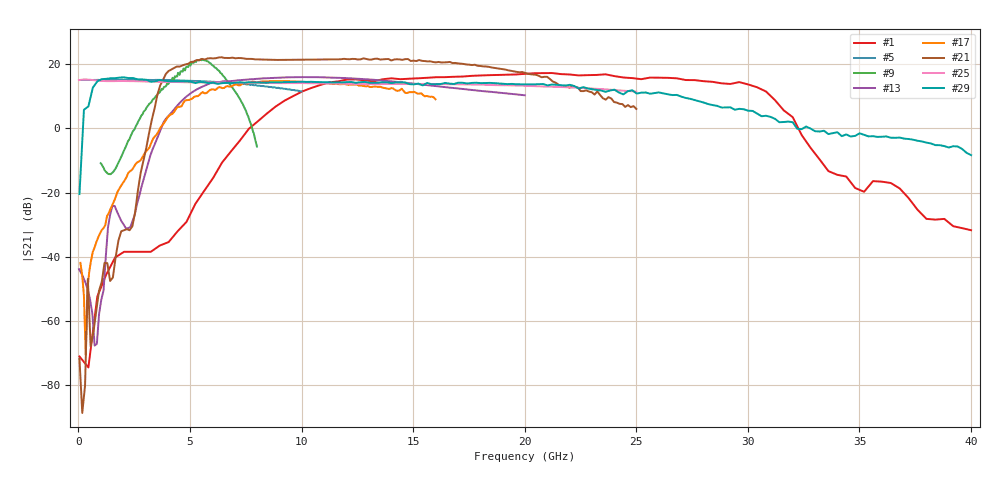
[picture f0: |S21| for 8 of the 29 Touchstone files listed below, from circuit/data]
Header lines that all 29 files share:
# MHZ S MA R 50
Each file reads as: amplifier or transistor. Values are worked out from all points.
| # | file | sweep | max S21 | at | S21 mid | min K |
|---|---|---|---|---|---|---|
| 1 | HMC383LC4_deembedded.s2p | 50 MHz to 40 GHz | 17.2 dB | 21.22 GHz | 17.0 dB at 20.02 GHz | -17918.66 |
| 2 | HMC392_deembedded.s2p | 2 GHz to 9 GHz | 15.8 dB | 4.275 GHz | 14.9 dB at 5.5 GHz | 3.51 |
| 3 | HMC395_deembedded.s2p | 50 MHz to 10 GHz | 16.1 dB | 199.2 MHz | 12.6 dB at 5.025 GHz | 0.98 |
| 4 | HMC396_deembedded.s2p | 50 MHz to 10 GHz | 12.2 dB | 3.483 GHz | 12.0 dB at 5.025 GHz | 1.05 |
| 5 | HMC397_deembedded.s2p | 50 MHz to 10 GHz | 15.1 dB | 1.742 GHz | 14.8 dB at 5.025 GHz | 0.98 |
| 6 | HMC405_deembedded.s2p | 10 MHz to 10 GHz | 16.6 dB | 2.258 GHz | 15.6 dB at 5.005 GHz | 0.81 |
| 7 | HMC406MS8G_deembedded.s2p | 3 GHz to 8 GHz | 18.4 dB | 5.575 GHz | 18.4 dB at 5.5 GHz | 3.55 |
| 8 | HMC407MS8G_deembedded.s2p | 2 GHz to 10 GHz | 14.4 dB | 5.72 GHz | 14.3 dB at 6 GHz | 1.60 |
| 9 | HMC408LP3_deembedded.s2p | 1 GHz to 8 GHz | 21.5 dB | 5.48 GHz | 17.0 dB at 4.5 GHz | 4.60 |
| 10 | HMC413QS16G_deembedded_Vs_3p6V.s2p | 1 GHz to 8 GHz | 23.0 dB | 1.805 GHz | -0.2 dB at 4.5 GHz | -1.92 |
| 11 | HMC413QS16G_deembedded_Vs_5V.s2p | 1 GHz to 8 GHz | 23.4 dB | 1.805 GHz | 0.1 dB at 4.5 GHz | -1.84 |
| 12 | HMC415LP3_deembedded.s2p | 1 GHz to 10 GHz | 21.1 dB | 5.23 GHz | 20.5 dB at 5.5 GHz | 2.73 |
| 13 | HMC441_deembedded.s2p | 30 MHz to 20 GHz | 15.9 dB | 10.31 GHz | 15.9 dB at 10.02 GHz | -69.11 |
| 14 | Hmc441lc3b_deembedded.s2p | 50 MHz to 25 GHz | 17.4 dB | 11.28 GHz | 17.0 dB at 12.53 GHz | -379.73 |
| 15 | HMC441LH5_deembedded.s2p | 50 MHz to 25 GHz | 17.3 dB | 11.53 GHz | 16.7 dB at 12.53 GHz | -1164.35 |
| 16 | HMC441LM1_deembedded.s2p | 100 MHz to 20 GHz | 17.0 dB | 10.6 GHz | 16.8 dB at 10.1 GHz | -0.98 |
| 17 | HMC441LP3_deembedded.s2p | 90 MHz to 16 GHz | 14.7 dB | 9 GHz | 14.3 dB at 8.045 GHz | -37382.54 |
| 18 | HMC442_deembedded.s2p | 1 GHz to 40 GHz | 16.6 dB | 25.57 GHz | 14.5 dB at 20.5 GHz | -4786.78 |
| 19 | HMC442LM1_deembedded.s2p | 200 MHz to 40 GHz | 14.6 dB | 25.2 GHz | 13.2 dB at 20.2 GHz | -2290.06 |
| 20 | HMC451_4p5V_deembedded.s2p | 50 MHz to 25 GHz | 22.9 dB | 6.412 GHz | 22.2 dB at 12.53 GHz | 7.97 |
| 21 | HMC451_5p5V_deembedded.s2p | 50 MHz to 25 GHz | 22.1 dB | 6.412 GHz | 21.4 dB at 12.53 GHz | 9.46 |
| 22 | HMC451_5V_deembedded.s2p | 50 MHz to 25 GHz | 22.5 dB | 6.412 GHz | 21.8 dB at 12.53 GHz | 8.80 |
| 23 | HMC451LC3_deembedded.s2p | 50 MHz to 26 GHz | 21.4 dB | 14.71 GHz | 19.9 dB at 13.03 GHz | -8.95 |
| 24 | HMC455LP3_deembedded.s2p | 40 MHz to 8 GHz | 12.8 dB | 1.563 GHz | 0.7 dB at 4.039 GHz | -113.76 |
| 25 | HMC460_deembedded.s2p | 25 MHz to 25 GHz | 15.2 dB | 274.8 MHz | 13.8 dB at 12.51 GHz | 3.05 |
| 26 | HMC461LP3_deembedded.s2p | 50 MHz to 10 GHz | 12.9 dB | 1.592 GHz | -14.5 dB at 5.025 GHz | -2031.01 |
| 27 | HMC462_deembedded.s2p | 50 MHz to 30.01 GHz | 16.3 dB | 5.244 GHz | 15.2 dB at 15.23 GHz | 1.24 |
| 28 | Hmc462lp5_deembedded.s2p | 50 MHz to 30 GHz | 14.3 dB | 3.869 GHz | 13.2 dB at 15.13 GHz | -18.76 |
| 29 | HMC463_deembedded.s2p | 50 MHz to 40 GHz | 15.9 dB | 2.047 GHz | 13.7 dB at 20.02 GHz | -0.03 |
